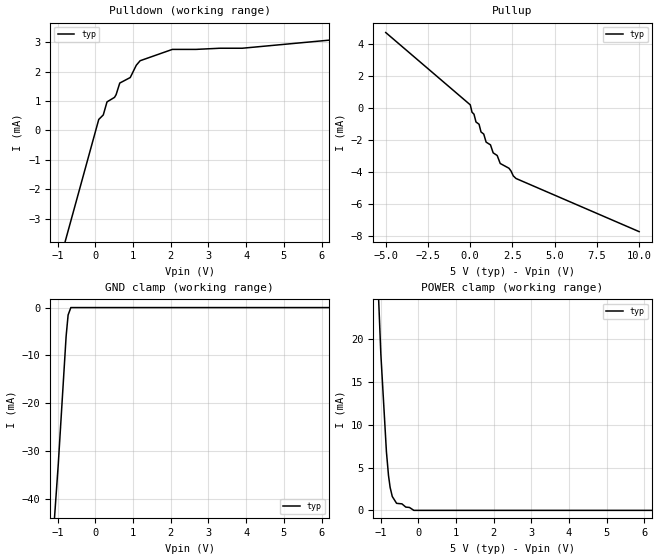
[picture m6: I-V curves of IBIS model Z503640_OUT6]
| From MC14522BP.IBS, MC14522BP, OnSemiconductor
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| (C) COPYRIGHT 1993-2000
| MENTOR GRAPHICS CORPORATION
| ICX STANDARD LIBRARY, ICX PROJECT MODELING,
| ICX CUSTOM MODELING, ICX VENDOR MODEL
| ALL RIGHTS RESERVED.
| THE FOLLOWING ARE TRADEMARKS OR SERVICE MARKS OF
| MENTOR GRAPHICS CORPORATION:ICX (R), ICX STANDARD
| LIBRARY(R), ICX PROJECT MODELING(R), ICX CUSTOM
| MODELING(R), qualityIBIS(TM), MODELVIEWER(TM),
| AND MODELEDITOR(TM)
| ALL COPIES OF SOFTWARE, INCLUDING BUT NOT LIMITED TO
| ANY MODIFICATIONS, ENHANCEMENTS OR DERIVATIVE WORKS,
| MUST CONTAIN ALL MENTOR GRAPHICS CORPORATION'S
| NOTICES AND LEGENDS, INCLUDING THOSE EMBEDDED IN
| SOFTWARE AND THOSE AFFIXED TO SOFTWARE MEDIUM
| AND CONTAINER, AS RECEIVED FROM MENTOR GRAPHICS
| CORPORATION.
| Model Application Version 1.89 2/18/99.
[Model] Z503640_OUT6
Model_type Output
Vref=0.000V
Rref=500.0Mohms
Cref=50.00pF
Vmeas=2.500V
C_comp 8.000pF NA NA
| variable typ   min   max
[Voltage Range] 5.000V NA NA
[POWER Clamp Reference] 5.000V NA NA
[Pullup Reference] 5.000V NA NA
[Pulldown Reference] 0.000V NA NA
[GND Clamp Reference] 0.000V NA NA
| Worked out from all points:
|   slope of the pulldown table from 0 to 0.75 V, typ, clamps not added: 438 ohm
|   slope of the pullup table from 0 to 0.75 V, typ, clamps not added: 418 ohm
|   GND clamp passes 1 mA (typ) near -0.70 V on its own axis
|   POWER clamp passes 1 mA (typ) near -0.60 V on its own axis
[GND Clamp]
-5V       -483mA     NA         NA
-986.6mV  -32.65mA   NA         NA
-779.3mV  -5.999mA   NA         NA
-726.6mV  -1.551mA   NA         NA
-653.9mV  0A         NA         NA
10V       0A         NA         NA
[Pulldown]
-5V       -23.28mA   NA         NA
86.82mV   373.5uA    NA         NA
207.2mV   527.1uA    NA         NA
306.1mV   970uA      NA         NA
547.6mV   1.215mA    NA         NA
644.5mV   1.609mA    NA         NA
922.8mV   1.797mA    NA         NA
1.084V    2.215mA    NA         NA
1.185V    2.367mA    NA         NA
2.041V    2.752mA    NA         NA
3.895V    2.791mA    NA         NA
10V       3.517mA    NA         NA
[Pullup]
-5V       4.73mA     NA         NA
5mV       194.2uA    NA         NA
343mV     -881.6uA   NA         NA
524mV     -1.021mA   NA         NA
942mV     -2.143mA   NA         NA
1.201V    -2.315mA   NA         NA
1.359V    -2.815mA   NA         NA
1.597V    -2.982mA   NA         NA
1.777V    -3.483mA   NA         NA
2.295V    -3.781mA   NA         NA
2.712V    -4.424mA   NA         NA
10V       -7.757mA   NA         NA
[POWER Clamp]
-5V       547mA      NA         NA
-1.172V   37.76mA    NA         NA
-993mV    18.24mA    NA         NA
-845mV    6.837mA    NA         NA
-790mV    4.071mA    NA         NA
-747mV    2.685mA    NA         NA
-690mV    1.621mA    NA         NA
-575mV    821.2uA    NA         NA
-434mV    761uA      NA         NA
-332mV    383uA      NA         NA
-117mV    0A         NA         NA
10V       0A         NA         NA
[Ramp]
| variable typ min max
dV/dt_r 2.510/12.19n NA NA
dV/dt_f 2.510/12.64n NA NA
R_load = 2.500kOhms
